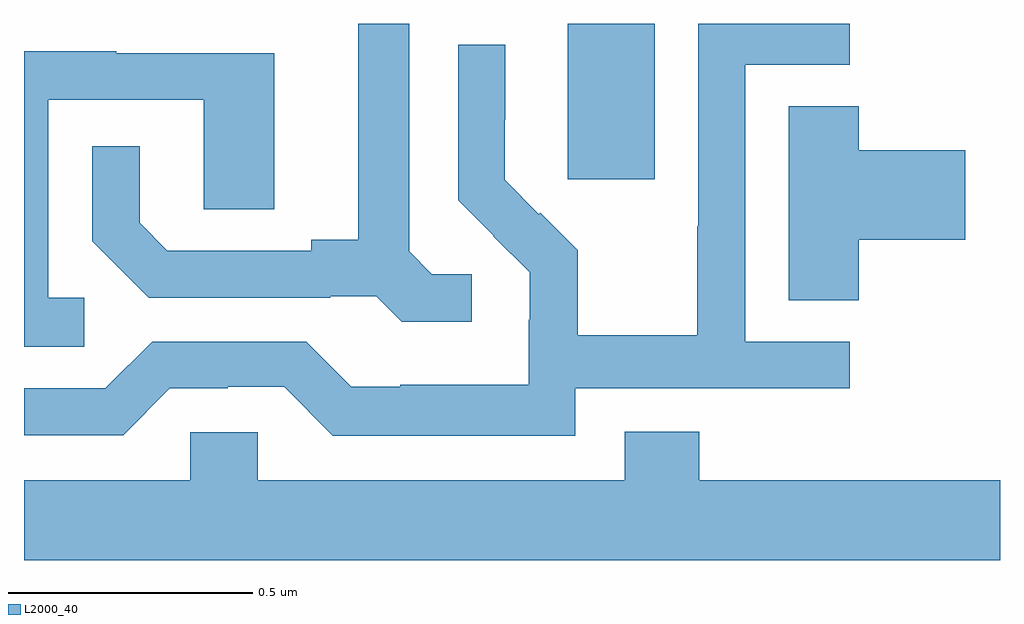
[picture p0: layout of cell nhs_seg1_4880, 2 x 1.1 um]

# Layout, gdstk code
import gdstk
lib = gdstk.Library(unit=1e-6, precision=1e-09)
def R(c, l, rs):  # rectangles x0, y0, x1, y1
    for r in rs: c.add(gdstk.rectangle(r[:2], r[2:], *l))
def P(c, l, *ps):  # polygons
    for p in ps: c.add(gdstk.Polygon(p, *l))
L2000_40 = (2000, 40)

nhs_seg1_4880 = lib.new_cell('nhs_seg1_4880')
R(nhs_seg1_4880, L2000_40, [(173.114,517.881,173.293,518.199)])
P(nhs_seg1_4880, L2000_40, [(173.13,517.452),(173.692,517.452),(173.692,517.548),(173.478,517.548),(173.478,518.115),(173.692,518.115),(173.692,518.199),(173.382,518.199),(173.382,517.784),(173.38,517.784),(173.38,517.561),(173.135,517.561),(173.135,517.735),(173.058,517.812),(173.055,517.809),(172.985,517.88),(172.985,518.002),(172.986,518.002),(172.986,518.156),(172.89,518.156),(172.89,517.838),(172.963,517.765),(172.962,517.764),(173.036,517.69),(173.036,517.593),(173.034,517.593),(173.034,517.459),(172.771,517.459),(172.771,517.455),(172.671,517.455),(172.578,517.548),(172.263,517.548),(172.167,517.452),(172,517.452),(172,517.356),(172.203,517.356),(172.299,517.452),(172.418,517.452),(172.418,517.455),(172.533,517.455),(172.633,517.355),(173.13,517.355)],
  [(172.918,517.686),(172.836,517.686),(172.789,517.733),(172.789,518.199),(172.685,518.199),(172.685,517.757),(172.589,517.757),(172.589,517.734),(172.294,517.734),(172.237,517.791),(172.237,517.948),(172.14,517.948),(172.14,517.754),(172.256,517.638),(172.628,517.638),(172.628,517.641),(172.722,517.641),(172.774,517.589),(172.918,517.589)],
  [(172.123,517.638),(172.05,517.638),(172.05,518.043),(172.368,518.043),(172.368,517.819),(172.513,517.819),(172.513,518.139),(172.189,518.139),(172.189,518.143),(172,518.143),(172,517.537),(172.123,517.537)],
  [(173.711,517.757),(173.929,517.757),(173.929,517.94),(173.711,517.94),(173.711,518.03),(173.567,518.03),(173.567,517.633),(173.711,517.633)],
  [(174,517.264),(173.384,517.264),(173.384,517.363),(173.231,517.363),(173.231,517.264),(172.479,517.264),(172.479,517.362),(172.341,517.362),(172.341,517.264),(172,517.264),(172,517.1),(174,517.1)])

lib.write_gds('nhs_seg1_4880.gds')
